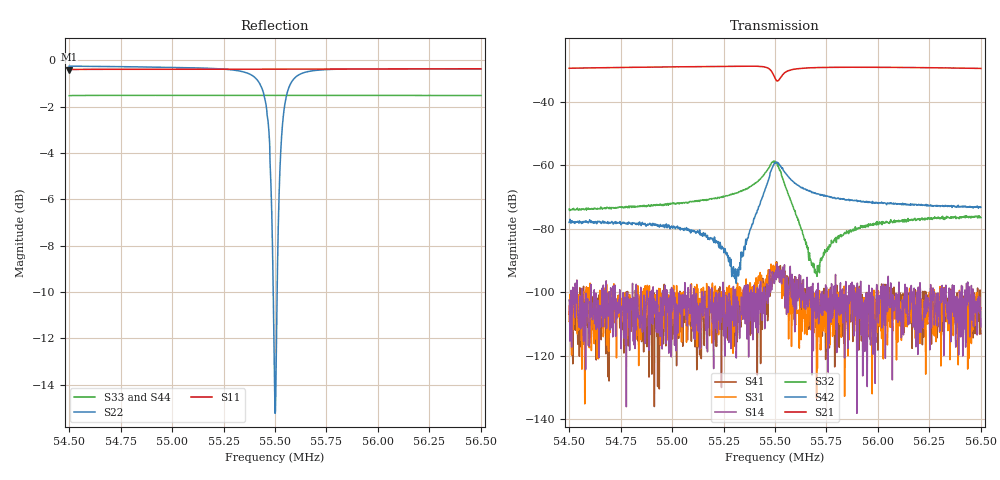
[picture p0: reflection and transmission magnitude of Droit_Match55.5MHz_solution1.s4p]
#  HZ  S  DB  R  50.00
! Rohde & Schwarz Vector Network Analyzer
! Rohde-Schwarz,ZNB8-4Port,1311601044102961,2.82
! Created: UTC 1/15/2019, 3:19:06 PM
! freq[Hz]  db:S11  ang:S11  db:S12  ang:S12  db:S13  ang:S13  db:S14  ang:S14
!  db:S21  ang:S21  db:S22  ang:S22  db:S23  ang:S23  db:S24  ang:S24
!  db:S31  ang:S31  db:S32  ang:S32  db:S33  ang:S33  db:S34  ang:S34
!  db:S41  ang:S41  db:S42  ang:S42  db:S43  ang:S43  db:S44  ang:S44
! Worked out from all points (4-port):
!   1001 points, 54.5 MHz to 56.5 MHz, reference 50 ohm
!   strongest paths, dB at 54.5 MHz, 55 MHz, 55.5 MHz, 56 MHz, 56.5 MHz:
!     S21: -29.4, -29.0, -32.5, -29.1, -29.5
!     S42: -78.0, -79.4, -59.4, -71.7, -73.2
!     S32: -73.8, -72.2, -58.8, -78.4, -76.5
!     S14: -102.5, -106.0, -93.9, -103.5, -110.9
!     S31: -109.2, -102.2, -95.3, -105.6, -104.9
!     S41: -107.0, -99.6, -94.1, -118.3, -113.1
!   lowest |S11| = -0.4 dB at 54.5 MHz (marker M1), VSWR 43.74, Z = 1.6 + j31.6 ohm
!   |S11| at or under -10 dB: nowhere
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5.45e7  -0.40 115.4  -29.45 118.4  -100.71 113.5  -102.48 139.1
        -29.42 118.4  -0.25 -58.0  -74.04 -102.3  -77.93 -99.6
        -109.21 130.8  -73.82 -103.4  -1.52 33.7  -104.04 129.6
        -106.97 42.8  -77.98 -98.5  -101.16 -121.1  -1.53 40.6
5.5374e7  -0.38 99.0  -28.83 82.0  -101.69 72.5  -100.84 -44.5
          -28.77 82.0  -0.58 -114.3  -66.76 -141.0  -80.68 21.1
          -98.85 67.3  -66.88 -140.9  -1.51 23.0  -131.93 -86.5
          -103.06 -86.3  -81.58 16.8  -110.99 81.8  -1.51 30.0
5.5468e7  -0.38 97.3  -29.50 67.8  -93.97 41.5  -98.25 -138.8
          -29.45 67.7  -2.78 -140.1  -60.37 -174.3  -64.35 -2.4
          -92.93 40.6  -61.06 -170.3  -1.51 21.8  -122.01 -21.4
          -94.17 -157.5  -64.69 1.5  -112.26 -57.1  -1.51 28.8
5.5508e7  -0.37 96.5  -33.63 75.5  -92.77 -12.2  -91.10 156.2
          -33.32 72.5  -11.44 -71.7  -59.37 126.9  -59.06 -58.0
          -93.91 -18.2  -59.35 128.1  -1.51 21.3  -108.12 -28.4
          -90.41 150.8  -59.01 -59.2  -106.67 -7.5  -1.51 28.3
5.5552e7  -0.37 95.7  -30.66 90.5  -95.07 -86.7  -98.04 70.3
          -30.60 90.5  -1.68 -87.5  -66.96 83.2  -62.64 -105.4
          -99.90 -52.6  -67.02 84.0  -1.51 20.8  -103.45 62.9
          -97.94 132.0  -62.52 -105.3  -106.37 -135.5  -1.51 27.8
5.5638e7  -0.37 94.2  -29.44 82.6  -97.54 -58.1  -96.00 114.9
          -29.40 82.7  -0.53 -107.6  -82.85 71.0  -67.36 -127.0
          -106.68 -43.7  -82.13 73.6  -1.51 19.7  -104.68 -10.1
          -99.31 77.8  -67.27 -126.5  -102.82 -153.9  -1.51 26.8
5.65e7  -0.36 79.0  -29.53 46.3  -105.33 81.8  -110.94 -177.7
        -29.48 46.4  -0.37 -166.5  -75.92 -167.9  -73.10 -165.1
        -104.91 12.6  -76.50 -169.6  -1.51 9.1  -114.11 121.8
        -113.09 45.4  -73.24 -165.0  -107.22 -70.3  -1.50 16.2
